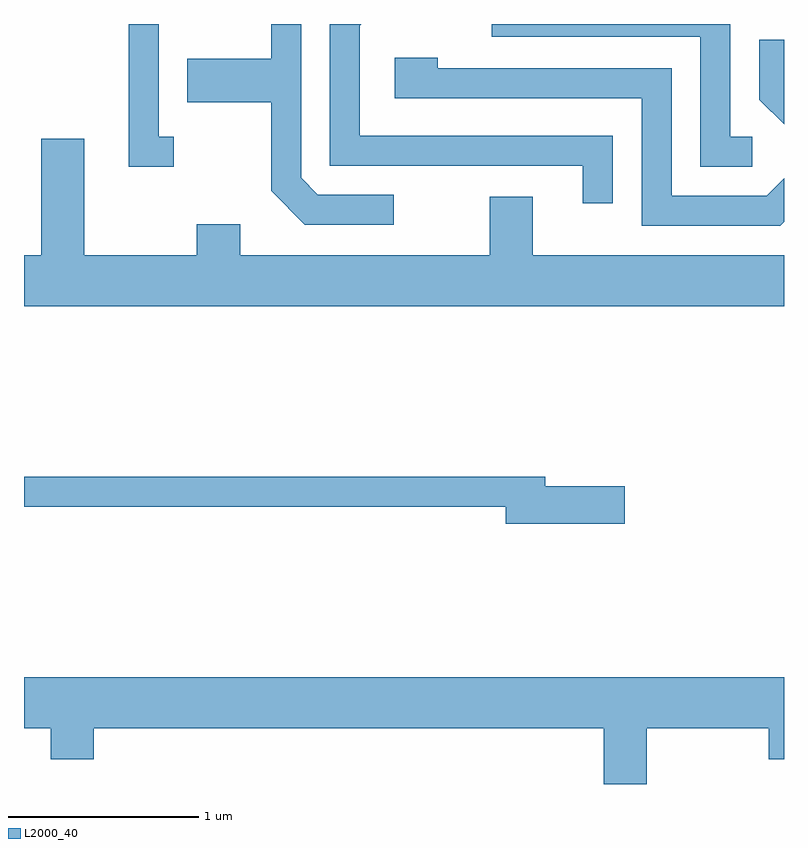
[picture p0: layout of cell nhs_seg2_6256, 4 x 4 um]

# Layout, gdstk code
import gdstk
lib = gdstk.Library(unit=1e-6, precision=1e-09)
def P(c, l, *ps):  # polygons
    for p in ps: c.add(gdstk.Polygon(p, *l))
L2000_40 = (2000, 40)

nhs_seg2_6256 = lib.new_cell('nhs_seg2_6256')
P(nhs_seg2_6256, L2000_40, [(372.709,1049.214),(371.379,1049.214),(371.379,1049.794),(371.387,1049.802),(371.221,1049.802),(371.221,1049.056),(372.551,1049.056),(372.551,1048.858),(372.709,1048.858)],
  [(370.398,1049.209),(370.319,1049.209),(370.319,1049.802),(370.161,1049.802),(370.161,1049.051),(370.398,1049.051)],
  [(373.443,1049.209),(373.329,1049.209),(373.329,1049.802),(372.073,1049.802),(372.073,1049.736),(373.171,1049.736),(373.171,1049.051),(373.443,1049.051)],
  [(371.558,1048.904),(371.157,1048.904),(371.069,1048.992),(371.069,1049.802),(370.911,1049.802),(370.911,1049.619),(370.471,1049.619),(370.471,1049.391),(370.911,1049.391),(370.911,1048.924),(371.089,1048.746),(371.558,1048.746)],
  [(373.611,1049.718),(373.481,1049.718),(373.481,1049.404),(373.611,1049.274)],
  [(373.611,1048.76),(373.611,1048.991),(373.519,1048.899),(373.019,1048.899),(373.019,1049.569),(371.789,1049.569),(371.789,1049.624),(371.561,1049.624),(371.561,1049.411),(372.861,1049.411),(372.861,1048.741),(373.592,1048.741)],
  [(373.611,1048.584),(372.289,1048.584),(372.289,1048.894),(372.061,1048.894),(372.061,1048.584),(370.749,1048.584),(370.749,1048.749),(370.521,1048.749),(370.521,1048.584),(369.929,1048.584),(369.929,1049.199),(369.701,1049.199),(369.701,1048.584),(369.611,1048.584),(369.611,1048.316),(373.611,1048.316)],
  [(372.774,1047.369),(372.354,1047.369),(372.354,1047.419),(369.611,1047.419),(369.611,1047.261),(372.146,1047.261),(372.146,1047.171),(372.774,1047.171)],
  [(372.889,1046.096),(373.531,1046.096),(373.531,1045.931),(373.611,1045.931),(373.611,1046.364),(369.611,1046.364),(369.611,1046.096),(369.751,1046.096),(369.751,1045.931),(369.979,1045.931),(369.979,1046.096),(372.661,1046.096),(372.661,1045.802),(372.889,1045.802)])

lib.write_gds('nhs_seg2_6256.gds')
